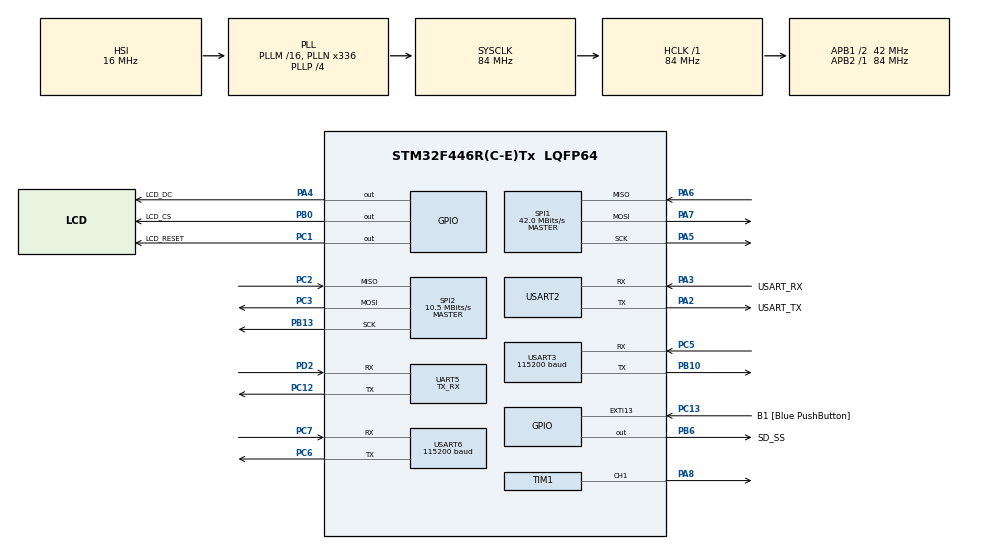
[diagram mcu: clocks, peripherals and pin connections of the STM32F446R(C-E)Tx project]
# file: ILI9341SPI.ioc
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Dma.Request0=USART3_RX
Dma.Request1=USART6_RX
Dma.USART3_RX.0.Direction=DMA_PERIPH_TO_MEMORY
Dma.USART3_RX.0.FIFOMode=DMA_FIFOMODE_DISABLE
Dma.USART3_RX.0.Instance=DMA1_Stream1
Dma.USART3_RX.0.MemDataAlignment=DMA_MDATAALIGN_BYTE
Dma.USART3_RX.0.MemInc=DMA_MINC_ENABLE
Dma.USART3_RX.0.Mode=DMA_NORMAL
Dma.USART3_RX.0.PeriphDataAlignment=DMA_PDATAALIGN_BYTE
Dma.USART3_RX.0.PeriphInc=DMA_PINC_DISABLE
Dma.USART3_RX.0.Priority=DMA_PRIORITY_LOW
Dma.USART6_RX.1.Direction=DMA_PERIPH_TO_MEMORY
Dma.USART6_RX.1.FIFOMode=DMA_FIFOMODE_DISABLE
Dma.USART6_RX.1.Instance=DMA2_Stream1
Dma.USART6_RX.1.MemDataAlignment=DMA_MDATAALIGN_BYTE
Dma.USART6_RX.1.MemInc=DMA_MINC_ENABLE
Dma.USART6_RX.1.Mode=DMA_NORMAL
Dma.USART6_RX.1.PeriphDataAlignment=DMA_PDATAALIGN_BYTE
Dma.USART6_RX.1.PeriphInc=DMA_PINC_DISABLE
Dma.USART6_RX.1.Priority=DMA_PRIORITY_LOW
FATFS._MAX_SS=4096
FATFS._USE_LFN=1
Mcu.Family=STM32F4
Mcu.Name=STM32F446R(C-E)Tx
Mcu.Package=LQFP64
NVIC.DMA1_Stream1_IRQn=true\:0\:0\:false\:false\:true\:false\:true\:true
NVIC.DMA2_Stream1_IRQn=true\:0\:0\:false\:false\:true\:false\:true\:true
NVIC.PriorityGroup=NVIC_PRIORITYGROUP_0
NVIC.SPI2_IRQn=true\:0\:0\:false\:false\:true\:true\:true\:true
NVIC.TIM2_IRQn=true\:0\:0\:false\:false\:true\:true\:true\:true
NVIC.TIM6_DAC_IRQn=true\:0\:0\:false\:false\:true\:true\:true\:true
NVIC.USART3_IRQn=true\:0\:0\:false\:false\:true\:true\:true\:true
NVIC.USART6_IRQn=true\:0\:0\:false\:false\:true\:true\:true\:true
PA13.GPIO_Label=TMS
PA13.Mode=Serial_Wire
PA13.Signal=SYS_JTMS-SWDIO
PA14.GPIO_Label=TCK
PA14.Mode=Serial_Wire
PA14.Signal=SYS_JTCK-SWCLK
PA2.GPIO_Label=USART_TX
PA2.Mode=Asynchronous
PA2.Signal=USART2_TX
PA3.GPIO_Label=USART_RX
PA3.Mode=Asynchronous
PA3.Signal=USART2_RX
PA4.GPIO_Label=LCD_DC
PA4.GPIO_Speed=GPIO_SPEED_FREQ_MEDIUM
PA4.Signal=GPIO_Output
PA5.Mode=Full_Duplex_Master
PA5.Signal=SPI1_SCK
PA6.Mode=Full_Duplex_Master
PA6.Signal=SPI1_MISO
PA7.Mode=Full_Duplex_Master
PA7.Signal=SPI1_MOSI
PA8.Signal=S_TIM1_CH1
PB0.GPIO_Label=LCD_CS
PB0.GPIO_Speed=GPIO_SPEED_FREQ_MEDIUM
PB0.Signal=GPIO_Output
PB10.Mode=Asynchronous
PB10.Signal=USART3_TX
PB13.Mode=Full_Duplex_Master
PB13.Signal=SPI2_SCK
PB3.GPIO_Label=SWO
PB3.Signal=SYS_JTDO-SWO
PB6.GPIO_Label=SD_SS
PB6.GPIO_Speed=GPIO_SPEED_FREQ_MEDIUM
PB6.PinState=GPIO_PIN_SET
PB6.Signal=GPIO_Output
PC1.GPIO_Label=LCD_RESET
PC1.GPIO_Speed=GPIO_SPEED_FREQ_MEDIUM
PC1.Signal=GPIO_Output
PC12.Mode=Asynchronous
PC12.Signal=UART5_TX
PC13.GPIO_Label=B1 [Blue PushButton]
PC13.GPIO_ModeDefaultEXTI=GPIO_MODE_IT_FALLING
PC13.Signal=GPXTI13
PC14-OSC32_IN.Mode=LSE-External-Oscillator
PC14-OSC32_IN.Signal=RCC_OSC32_IN
PC15-OSC32_OUT.Mode=LSE-External-Oscillator
PC15-OSC32_OUT.Signal=RCC_OSC32_OUT
PC2.Mode=Full_Duplex_Master
PC2.Signal=SPI2_MISO
PC3.Mode=Full_Duplex_Master
PC3.Signal=SPI2_MOSI
PC5.Mode=Asynchronous
PC5.Signal=USART3_RX
PC6.Mode=Asynchronous
PC6.Signal=USART6_TX
PC7.Mode=Asynchronous
PC7.Signal=USART6_RX
PD2.Mode=Asynchronous
PD2.Signal=UART5_RX
PH0-OSC_IN.Mode=HSE-External-Oscillator
PH0-OSC_IN.Signal=RCC_OSC_IN
PH1-OSC_OUT.Mode=HSE-External-Oscillator
PH1-OSC_OUT.Signal=RCC_OSC_OUT
ProjectManager.HeapSize=0x200
ProjectManager.StackSize=0x400
ProjectManager.TargetToolchain=STM32CubeIDE
RCC.48MHZClocksFreq_Value=84000000
RCC.AHBFreq_Value=84000000
RCC.APB1CLKDivider=RCC_HCLK_DIV2
RCC.APB1Freq_Value=42000000
RCC.APB1TimFreq_Value=84000000
RCC.APB2Freq_Value=84000000
RCC.APB2TimFreq_Value=84000000
RCC.CortexFreq_Value=84000000
RCC.FLatency-AdvancedSettings=FLASH_LATENCY_2
RCC.HCLKFreq_Value=84000000
RCC.HSE_VALUE=8000000
RCC.HSI_VALUE=16000000
RCC.PLLN=336
RCC.PLLP=RCC_PLLP_DIV4
RCC.SYSCLKFreq_VALUE=84000000
RCC.SYSCLKSource=RCC_SYSCLKSOURCE_PLLCLK
RCC.USBFreq_Value=168000000
RCC.VCOOutputFreq_Value=336000000
SH.S_TIM1_CH1.0=TIM1_CH1,PWM Generation1 CH1
SPI1.BaudRatePrescaler=SPI_BAUDRATEPRESCALER_2
SPI1.CalculateBaudRate=42.0 MBits/s
SPI1.Direction=SPI_DIRECTION_2LINES
SPI1.Mode=SPI_MODE_MASTER
SPI1.VirtualType=VM_MASTER
SPI2.BaudRatePrescaler=SPI_BAUDRATEPRESCALER_4
SPI2.CalculateBaudRate=10.5 MBits/s
SPI2.Direction=SPI_DIRECTION_2LINES
SPI2.Mode=SPI_MODE_MASTER
SPI2.VirtualType=VM_MASTER
TIM1.Channel-PWM\ Generation1\ CH1=TIM_CHANNEL_1
TIM1.Period=100-1
TIM1.Pulse-PWM\ Generation1\ CH1=50
TIM2.AutoReloadPreload=TIM_AUTORELOAD_PRELOAD_ENABLE
TIM2.Period=999
TIM2.Prescaler=83
TIM2.TIM_MasterOutputTrigger=TIM_TRGO_UPDATE
TIM6.AutoReloadPreload=TIM_AUTORELOAD_PRELOAD_ENABLE
TIM6.Period=500-1
TIM6.Prescaler=8400-1
UART5.Mode=MODE_TX_RX
UART5.OverSampling=UART_OVERSAMPLING_8
UART5.VirtualMode=Asynchronous
USART2.VirtualMode=VM_ASYNC
USART3.BaudRate=115200
USART3.Mode=MODE_RX
USART3.OverSampling=UART_OVERSAMPLING_8
USART3.VirtualMode=VM_ASYNC
USART6.BaudRate=115200
USART6.Mode=MODE_RX
USART6.OverSampling=UART_OVERSAMPLING_8
USART6.VirtualMode=VM_ASYNC
VP_FATFS_VS_Generic.Mode=User_defined
VP_TIM1_VS_ClockSourceINT.Mode=Internal
VP_TIM2_VS_ClockSourceINT.Mode=Internal
VP_TIM6_VS_ClockSourceINT.Mode=Enable_Timer
board=NUCLEO-F446RE

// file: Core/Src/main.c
/* USER CODE BEGIN Header */
/**
 ******************************************************************************
 * @file           : main.c
 * @brief          : Main program body
 ******************************************************************************
 * @attention
 *
 * Copyright (c) 2024 STMicroelectronics.
 * All rights reserved.
 *
 * This software is licensed under terms that can be found in the LICENSE file
 * in the root directory of this software component.
 * If no LICENSE file comes with this software, it is provided AS-IS.
 *
 ******************************************************************************
 */
/* USER CODE END Header */
#include "main.h"
#include "fatfs.h"

/* USER CODE BEGIN Includes */
#include "fatfs_sd.h"
#include "string.h"
#include "stdio.h"

#include "ili9341.h"
#include "bitmaps.h"
#include "NOTES_PSC.h"
#include <string.h>
/* USER CODE END Includes */

/* USER CODE BEGIN PD */

FATFS fs;
FATFS *pfs;
FIL fil;
FRESULT fres;
DWORD fre_clust;
uint32_t totalSpace, freeSpace;
char buffer[100];
char data;
/* USER CODE END PD */

SPI_HandleTypeDef hspi1;
SPI_HandleTypeDef hspi2;

TIM_HandleTypeDef htim1;
TIM_HandleTypeDef htim2;
TIM_HandleTypeDef htim6;

UART_HandleTypeDef huart5;
UART_HandleTypeDef huart2;
UART_HandleTypeDef huart3;
UART_HandleTypeDef huart6;
DMA_HandleTypeDef hdma_usart3_rx;
DMA_HandleTypeDef hdma_usart6_rx;

/* USER CODE BEGIN PV */
extern const uint16_t fondo[];
extern const uint16_t pista5[];
extern const uint16_t menu[];
uint8_t estado_juego = 0;
uint8_t flag_velocidad = 0;
uint8_t flag_mapa_carrera = 0;
uint8_t flag_menu = 0;
uint8_t rx_control1[1];
uint8_t rx_control2[1];
uint8_t flag_jugando = 0;
uint8_t flag_ganador = 0;
uint8_t contador = 0;
uint16_t contador_seg = 0;
uint16_t dir_x_car1 = 155;
uint16_t dir_y_car1 = 208;
volatile uint16_t new_x_car1, new_y_car1;
volatile uint8_t move_ready1 = 0;
volatile char cmd1 = 0;
uint8_t indx1 = 1;

uint16_t dir_x_car2 = 155;
uint16_t dir_y_car2 = 192;
volatile uint16_t new_x_car2, new_y_car2;
volatile uint8_t move_ready2 = 0;
volatile char cmd2 = 0;
uint8_t indx2 = 1;
uint8_t VELOCIDAD = 0;

// declaracion variables para imprimir pantalla guardada en SD
#define BLOCK_ROWS 16
uint16_t img_block[320 * BLOCK_ROWS];

uint8_t STEP_SIZE = 8;

//uint16_t note_index = 0;
//uint32_t last_note_time = 0;

#define TOTAL_NOTES (sizeof(mk_notes)/sizeof(uint16_t))

// Para usar con timer en lugar de delay
volatile uint16_t note_index = 0;
volatile uint32_t note_time = 0;
volatile uint8_t note_on = 1;

// Variables para meta
#define FINISH_X 150
#define FINISH_Y1 180
#define FINISH_Y2 220
uint16_t prev_x_car1, prev_x_car2;

uint8_t laps_car1 = 0;
uint8_t laps_car2 = 0;

uint8_t crossed_car1 = 0;
uint8_t crossed_car2 = 0;

// Check point
#define CP1_X 131
#define CP1_Y1 10
#define CP1_Y2 70

uint8_t cp_car2 = 0;
uint8_t cp_car1 = 0;

// Variables para el boost, misma posicion que los checkpoints
uint8_t boost_active = 0;
uint8_t boost_visible = 0;
uint16_t boost_timer = 0;      // duración visible
uint16_t boost_duration = 0;   // duración del efecto

uint8_t boost_car1 = 0;
uint8_t boost_car2 = 0;

uint16_t boost_time_car1 = 0;
uint16_t boost_time_car2 = 0;

// Posición del boost
uint16_t boost_x = 150;
uint16_t boost_y = 30;

// STEP independientes
uint8_t STEP_SIZE_CAR1 = 8;
uint8_t STEP_SIZE_CAR2 = 8;

uint8_t cp1_event_car1 = 0;
uint8_t cp1_event_car2 = 0;

uint8_t boost_spawned = 0;

//variables para guardar highscore
// Highscore
uint16_t highscore0_seg = 9999;  // valor inicial
uint8_t  highscore0_dec = 0;
uint16_t highscore1_seg = 9999;  // valor inicial
uint8_t  highscore1_dec = 0;
uint16_t highscore2_seg = 9999;  // valor inicial
uint8_t  highscore2_dec = 0;
uint8_t  flag_highscore = 0;    // para dibujar la pantalla solo una vez

// Tile set
#define TILE_SIZE 16
#define MAP_W 20
#define MAP_H 15

uint8_t collision_map[MAP_H][MAP_W];

// ================================================================================

/* USER CODE END PV */

void SystemClock_Config(void);
static void MX_GPIO_Init(void);
static void MX_DMA_Init(void);
static void MX_USART2_UART_Init(void);
static void MX_SPI1_Init(void);
static void MX_USART3_UART_Init(void);
static void MX_USART6_UART_Init(void);
static void MX_TIM1_Init(void);
static void MX_TIM2_Init(void);
static void MX_UART5_Init(void);
static void MX_SPI2_Init(void);
static void MX_TIM6_Init(void);

/* USER CODE BEGIN 0 */
void transmit_uart(char *string){
	uint8_t len = strlen(string);
	HAL_UART_Transmit(&huart2, (uint8_t*) string, len,200);
	//funcion que usamos para imprimir estado de SD por serial
}
void guardar_highscore(uint16_t seg, uint8_t dec)
{
	//funcion para guardar el highscore dependiendo del modo de velocidad en el que estemos.
	// velocidad alta 1 velocdad media 0 velocidad baja 2
    FATFS fs_hs;
    FIL   fil_hs;
    char  linea[30];

    if(f_mount(&fs_hs, "/", 0) != FR_OK){
        transmit_uart("HS: error montando SD\n");
        return;
    }
    transmit_uart("HS: SD montada\n");
    if (VELOCIDAD == 0){
    	if(f_open(&fil_hs, "highscore0.txt", FA_WRITE | FA_CREATE_ALWAYS) != FR_OK){
			transmit_uart("HS: error abriendo archivo\n");
			f_mount(NULL, "", 1);
			return;
		}
		transmit_uart("HS: archivo abierto\n");

		sprintf(linea, "%u,%u\n", seg, dec);  // coma como separador
		f_puts(linea, &fil_hs);
		transmit_uart("HS: dato escrito\n");

		f_close(&fil_hs);
		f_mount(NULL, "", 1);
		transmit_uart("HS: guardado vel menor exitoso\n");
    }else if (VELOCIDAD == 1){
    	if(f_open(&fil_hs, "highscore1.txt", FA_WRITE | FA_CREATE_ALWAYS) != FR_OK){
			transmit_uart("HS: error abriendo archivo\n");
			f_mount(NULL, "", 1);
			return;
		}
		transmit_uart("HS: archivo abierto\n");

		sprintf(linea, "%u,%u\n", seg, dec);  // coma como separador
		f_puts(linea, &fil_hs);
		transmit_uart("HS: dato escrito\n");

		f_close(&fil_hs);
		f_mount(NULL, "", 1);
		transmit_uart("HS: guardado vel alta exitoso\n");
    }else if (VELOCIDAD == 2){
    	if(f_open(&fil_hs, "highscore2.txt", FA_WRITE | FA_CREATE_ALWAYS) != FR_OK){
			transmit_uart("HS: error abriendo archivo\n");
			f_mount(NULL, "", 1);
			return;
		}
		transmit_uart("HS: archivo abierto\n");

		sprintf(linea, "%u,%u\n", seg, dec);  // coma como separador
		f_puts(linea, &fil_hs);
		transmit_uart("HS: dato escrito\n");

		f_close(&fil_hs);
		f_mount(NULL, "", 1);
		transmit_uart("HS: guardado vel lenta exitoso\n");
    }

}

void cargar_highscore(void)
{
    FATFS fs_hs;
    FIL   fil_hs;
    char  linea[30];
    const char* nombre;
    uint16_t *seg_ptr;
    uint8_t  *dec_ptr;

    // Seleccionar archivo y variables según velocidad. Dependiendo de ello mostramos el
    // valor del highscore adecuado a la velocidad que eligio
    if(VELOCIDAD == 0){
        nombre  = "highscore0.txt";
        seg_ptr = &highscore0_seg;
        dec_ptr = &highscore0_dec;
    } else if(VELOCIDAD == 1){
        nombre  = "highscore1.txt";
        seg_ptr = &highscore1_seg;
        dec_ptr = &highscore1_dec;
    } else {
        nombre  = "highscore2.txt";
        seg_ptr = &highscore2_seg;
        dec_ptr = &highscore2_dec;
    }

    if(f_mount(&fs_hs, "/", 0) != FR_OK){
        transmit_uart("HS: error montando SD\n");
        return;
    }
    transmit_uart("HS: SD montada\n");

    if(f_open(&fil_hs, nombre, FA_READ) != FR_OK){
        transmit_uart("HS: archivo no existe, usando default\n");
        f_mount(NULL, "", 1);
        return;
    }
    transmit_uart("HS: archivo abierto\n");

    if(f_gets(linea, sizeof(linea), &fil_hs)){
        uint16_t s = 0, d = 0;
        sscanf(linea, "%hu,%hu", &s, &d);
        *seg_ptr = s;
        *dec_ptr = (uint8_t)d;

        char msg[50];
        sprintf(msg, "HS: record cargado = %u.%u s\n", *seg_ptr, *dec_ptr);
        transmit_uart(msg);
    } else {
        transmit_uart("HS: error leyendo archivo\n");
    }

    f_close(&fil_hs);
    f_mount(NULL, "", 1);
    transmit_uart("HS: SD desmontada\n");
}

uint8_t load_and_draw_image_from_sd(const char* filename) {
	// funcion para cargar imagen desde SD
	//
    FATFS fs_local;
    FIL fil_local;
    FRESULT res;
    UINT br;
    char msg[60];
    char token[10];
    uint8_t tok_idx = 0;

    #define READ_CHUNK 128
    char chunk[READ_CHUNK + 1];

    uint32_t idx = 0;
    uint32_t total = 0;
    uint32_t total_pixels = 320 * 240;
    int current_row_block = 0;

    res = f_mount(&fs_local, "/", 0);
    if(res != FR_OK){
        transmit_uart("IMG: error montando SD\n");
        return 0;
    }
    transmit_uart("IMG: SD montada\n");

    res = f_open(&fil_local, filename, FA_READ);
    if(res != FR_OK){
        sprintf(msg, "IMG: error abriendo archivo: %d\n", res);
        transmit_uart(msg);
        f_mount(NULL, "", 1);
        return 0;
    }
    transmit_uart("IMG: dibujando...\n");

    while(total < total_pixels){
        res = f_read(&fil_local, chunk, READ_CHUNK, &br);
        if(br == 0) break;
        chunk[br] = '\0';

        for(UINT i = 0; i < br && total < total_pixels; i++){
            char c = chunk[i];

            if(c == ' ' || c == '\n' || c == '\r') continue;

            if(c == ','){
            	// el formato que guardamos la imagen es de numero seguido de comas como los usados
            	// cuando se guarda en RAM.
                if(tok_idx > 0){
                    token[tok_idx] = '\0';
                    img_block[idx++] = (uint16_t)strtol(token, NULL, 16);
                    tok_idx = 0;
                    total++;

                    if(idx >= 320 * BLOCK_ROWS){
                        LCD_Bitmap(0, current_row_block * BLOCK_ROWS, 320, BLOCK_ROWS, img_block);
                        current_row_block++;
                        idx = 0;
                    }
                }
            } else {
                if(tok_idx < sizeof(token) - 1)
                    token[tok_idx++] = c;
            }
        }
    }

    // Procesar último token si no termina en coma
    if(tok_idx > 0 && total < total_pixels){
        token[tok_idx] = '\0';
        img_block[idx++] = (uint16_t)strtol(token, NULL, 16);
        total++;
    }

    // Dibujar último bloque incompleto
    if(idx > 0){
        LCD_Bitmap(0, current_row_block * BLOCK_ROWS, 320, BLOCK_ROWS, img_block);
    }

    f_close(&fil_local);
    f_mount(NULL, "", 1);

    sprintf(msg, "IMG: total pixeles = %lu\n", total);
    transmit_uart(msg);
    return 1;
}
void restartRace(){
	// funcion para empezar de cero la carrera una vez hay ganador.
	move_ready1 = 0;
	move_ready2 = 0;
	cmd1 = 0;
	cmd2 = 0;

	new_x_car1 = dir_x_car1 = 155;
	new_y_car1 = dir_y_car1 = 208;

	new_x_car2 = dir_x_car2 = 155;
	new_y_car2 = dir_y_car2 = 192;

	boost_spawned = 0;

	cp_car1 = 0;
	cp_car2 = 0;
	laps_car2 = 0;
	laps_car1 = 0;
	flag_ganador = 0;
	contador = 0;
	contador_seg = 0;
	//LCD_Bitmap(0, 0, 320, 240, pista5);
	//LCD_Sprite(dir_x_car2, dir_y_car2, 16, 16, cars1, 4, 1, 0, 0);
	//LCD_Sprite(dir_x_car1, dir_y_car1, 16, 16, cars2, 4, 1, 0, 0);

	//musica de juego
	//enviamos el 2 al otro nucleo para indicarle que deseamos la musica de carrera.
	data = '2';
	HAL_UART_Transmit(&huart5, &data, 1, 100);
}

int check_collision(uint16_t x1, uint16_t y1,
                    uint16_t x2, uint16_t y2)
{
    return (x1 < x2 + 16 &&
            x1 + 16 > x2 &&
            y1 < y2 + 16 &&
            y1 + 16 > y2);
}

/* USER CODE END 0 */

int main(void)
{

  /* MCU Configuration--------------------------------------------------------*/

  /* Reset of all peripherals, Initializes the Flash interface and the Systick. */
  HAL_Init();

  /* Configure the system clock */
  SystemClock_Config();

  /* Initialize all configured peripherals */
  MX_GPIO_Init();
  MX_DMA_Init();
  MX_USART2_UART_Init();
  MX_SPI1_Init();
  MX_USART3_UART_Init();
  MX_USART6_UART_Init();
  MX_TIM1_Init();
  MX_TIM2_Init();
  MX_UART5_Init();
  MX_SPI2_Init();
  MX_FATFS_Init();
  MX_TIM6_Init();
  /* USER CODE BEGIN 2 */
	LCD_Init();
	HAL_TIM_Base_Start_IT(&htim2);
	HAL_TIM_Base_Start_IT(&htim6);
	HAL_TIM_PWM_Start(&htim1, TIM_CHANNEL_1);
	HAL_UART_Receive_DMA(&huart3, rx_control1, sizeof(rx_control1));
	HAL_UART_Receive_DMA(&huart6, rx_control2, sizeof(rx_control2));
	//tiempo para que se inicialice la sd
	HAL_Delay(1000);
	//montamos el sistema
	// comenzamos haciendo unas pruebas a la SD para verificar que este funcionando correctamente
	  	fres = f_mount(&fs, "/", 0);
	  	sprintf(buffer, "f_mount result: %d\r\n", fres);
	  	transmit_uart(buffer);

	  	if(fres == FR_OK){
	  		transmit_uart("Micro SD card is mounted successfully\n");
	  	}
	  	else if(fres != FR_OK){

	  		transmit_uart("Micro SD card's mount error\n");
	  	}

	  	fres = f_open(&fil, "prueba.txt", FA_OPEN_ALWAYS | FA_READ | FA_WRITE);

	  	if(fres == FR_OK){
	  	    transmit_uart("File opened successfully\n");
	  	}
	  	else{
	  	    sprintf(buffer, "f_open error: %d\n", fres);
	  	    transmit_uart(buffer);
	  	}

	  	//escribir en el archivo abierto
	  	for(uint8_t i = 0; i < 5; i++){
	  		f_puts("Hola mundo digital 2\n", &fil);
	  	}

	  	//cerramo archivo abierto
	  	fres = f_close(&fil);
	  	sprintf(buffer, "f_mount result: %d\r\n", fres);
	  	transmit_uart(buffer);
	  	if (fres == FR_OK){
	  		transmit_uart("The file is closed\n");
	  	}
	  	else if(fres != FR_OK){
	  		transmit_uart("The file  was not file closed\n");
	  	}

	  	//leemos archivo
	  	fres = f_open(&fil, "prueba.txt", FA_READ);
	  	sprintf(buffer, "f_mount result: %d\r\n", fres);
	  	transmit_uart(buffer);
	  	if(fres == FR_OK){
	  	  		transmit_uart("File opened for reading\n");
	  	  	}
	  	  	else if(fres != FR_OK){
	  	  		transmit_uart("File was not opened for reading\n");
	  	  	}
	  	//leemos el archivo
	  	while (f_gets(buffer, sizeof(buffer),&fil)){
	  		char mRd[100];
	  		sprintf(mRd, "%s", buffer);
	  		transmit_uart(mRd);
	  	}
	  	fres = f_close(&fil);
	  	sprintf(buffer, "f_mount result: %d\r\n", fres);
	  	transmit_uart(buffer);
	  	  	if (fres == FR_OK){
	  	  		transmit_uart("The file is closed\n");
	  	  	}
	  	  	else if(fres != FR_OK){
	  	  		transmit_uart("The was not file closed\n");
	  	  	}
	  	  	fres = f_mount(NULL, "", 1);
	  	  sprintf(buffer, "f_mount result: %d\r\n", fres);
	  	  transmit_uart(buffer);
	  	  	if(fres == FR_OK){
	  	  		transmit_uart("The microSD is unmounted\n");
	  	  	}
	  	  	else if(fres != FR_OK){
	  	  		transmit_uart("The microSD was not unmounted\n");
	  	  	}

	//LCD_Clear(0x00);
	//load_and_draw_image_from_sd("imagenmenu.txt");

	HAL_UART_Receive_DMA(&huart3, rx_control1, sizeof(rx_control1));
	HAL_UART_Receive_DMA(&huart6, rx_control2, sizeof(rx_control2));
	//enviamos 1 para musica de menu

	// Crear mapa de colisiones
	for(int ty = 0; ty < MAP_H; ty++){
		for(int tx = 0; tx < MAP_W; tx++){

			int px = tx * TILE_SIZE;
			int py = ty * TILE_SIZE;

			int gray_pixels = 0;

			for(int i=0; i<TILE_SIZE; i++){
				for(int j=0; j<TILE_SIZE; j++){

					uint16_t color = pista5[(py+i)*320 + (px+j)];

					if(color == 0x9cf3)// SOLO gris es válido
						gray_pixels++;
				}
			}

			// umbral
			if(gray_pixels > (TILE_SIZE * TILE_SIZE * 8 / 10))
				collision_map[ty][tx] = 0; // libre
			else
				collision_map[ty][tx] = 1; // bloqueado
		}
	}

	cargar_highscore(); // aca cargo el valor del highscore desde la SD
	// aca imprimo todos los archivos dentro de la sd para estar seguro de los nombres
	DIR dir;
	FILINFO fno;
	FATFS fs_temp;

	f_mount(&fs_temp, "/", 0);
	f_opendir(&dir, "/");
	while(f_readdir(&dir, &fno) == FR_OK && fno.fname[0] != 0){
	    transmit_uart(fno.fname);
	    transmit_uart("\n");
	}
	f_closedir(&dir);
	f_mount(NULL, "", 1);

  /* USER CODE END 2 */

  /* Infinite loop */
  /* USER CODE BEGIN WHILE */
	while (1)
	{
	    switch(estado_juego)
	    {
	        case 0: // MENU
	            if(!flag_menu){
	                LCD_Clear(0x00);
	                //LCD_Bitmap(0, 0, 320, 240, menu);
	                load_and_draw_image_from_sd("imagenmenu.txt.txt");
	                flag_menu = 1;
	            }
	            data = '1';
	            HAL_UART_Transmit(&huart5, &data, 1, 100);
	            flag_highscore = 0;
	            if(rx_control1[0] == 'x' || rx_control2[0] == 'x'){
	                rx_control1[0] = 0;
	                rx_control2[0] = 0;
	                flag_menu = 0;
	                flag_mapa_carrera = 0; // forzar redibujo de pista
	                restartRace();
	                estado_juego = 1;
	            }
	            if(rx_control1[0] == 'o' || rx_control2[0] == 'o'){
	                rx_control1[0] = 0;
	                rx_control2[0] = 0;
	                flag_menu = 0;
	                estado_juego = 2;
	            }
	            if(rx_control1[0] == 't' || rx_control2[0] == 't'){
	                rx_control1[0] = 0;
	                rx_control2[0] = 0;
	                flag_menu = 0;
	                flag_velocidad = 0;
	                estado_juego = 4;
	            }
	            break;

	        case 1: // JUEGO
	            data = '2';
	            HAL_UART_Transmit(&huart5, &data, 1, 100);

	            // Dibujar pista solo la primera vez
	            if(!flag_mapa_carrera){
	                LCD_Bitmap(0, 0, 320, 240, pista5);
	                LCD_Sprite(dir_x_car2, dir_y_car2, 16, 16, cars1, 4, 1, 0, 0);
	                LCD_Sprite(dir_x_car1, dir_y_car1, 16, 16, cars2, 4, 1, 0, 0);

	                LCD_Print("3", 140, 110, 2, 0xF800, 0x9cf3);
	                LCD_Print("3", 141, 110, 2, 0xF800, 0x9cf3);
	                LCD_Print("3", 142, 110, 2, 0xF800, 0x9cf3);
					HAL_Delay(1000);
					LCD_Print("3", 140, 110, 2, 0x9cf3, 0x9cf3); // borrar "3"
					LCD_Print("3", 141, 110, 2, 0x9cf3, 0x9cf3);
					LCD_Print("3", 142, 110, 2, 0x9cf3, 0x9cf3);

					LCD_Print("2", 140, 110, 2, 0xFFE0, 0x9cf3);
					LCD_Print("2", 141, 110, 2, 0xFFE0, 0x9cf3);
					LCD_Print("2", 142, 110, 2, 0xFFE0, 0x9cf3);
					HAL_Delay(1000);
					LCD_Print("2", 140, 110, 2, 0x9cf3, 0x9cf3); // borrar "2"
					LCD_Print("2", 141, 110, 2, 0x9cf3, 0x9cf3); // borrar "2"
					LCD_Print("2", 142, 110, 2, 0x9cf3, 0x9cf3); // borrar "2"

					LCD_Print("1", 140, 110, 2, 0x07E0, 0x9cf3);
					LCD_Print("1", 141, 110, 2, 0x07E0, 0x9cf3);
					LCD_Print("1", 142, 110, 2, 0x07E0, 0x9cf3);
					HAL_Delay(1000);
					LCD_Print("1", 140, 110, 2, 0x9cf3, 0x9cf3); // borrar "1"
					LCD_Print("1", 141, 110, 2, 0x9cf3, 0x9cf3); // borrar "1"
					LCD_Print("1", 142, 110, 2, 0x9cf3, 0x9cf3); // borrar "1"
	                flag_mapa_carrera = 1;
	                flag_jugando = 1;
	            }
	            // ── Carro 2 ──
	            if(move_ready2){
	                uint16_t prev_x = dir_x_car2;
	                uint16_t prev_y = dir_y_car2;
	                prev_x_car2 = dir_x_car2;

	                int left   = new_x_car2 / 16;
	                int right  = (new_x_car2 + 15) / 16;
	                int top    = dir_y_car2 / 16;
	                int bottom = (dir_y_car2 + 15) / 16;

	                if(collision_map[top][left] == 0 && collision_map[top][right] == 0 &&
	                   collision_map[bottom][left] == 0 && collision_map[bottom][right] == 0 &&
	                   !check_collision(new_x_car2, dir_y_car2, dir_x_car1, dir_y_car1))
	                    dir_x_car2 = new_x_car2;

	                left = dir_x_car2/16; right = (dir_x_car2+15)/16;
	                top  = new_y_car2/16; bottom = (new_y_car2+15)/16;

	                if(collision_map[top][left] == 0 && collision_map[top][right] == 0 &&
	                   collision_map[bottom][left] == 0 && collision_map[bottom][right] == 0 &&
	                   !check_collision(dir_x_car2, new_y_car2, dir_x_car1, dir_y_car1))
	                    dir_y_car2 = new_y_car2;

	                int dx = dir_x_car2 - prev_x;
	                int dy = dir_y_car2 - prev_y;

	                if(dx > 0){      for(int i=0;i<STEP_SIZE_CAR2;i++) V_line(prev_x+i,    prev_y,16,0x9cf3); indx2=1;}
	                else if(dx < 0){ for(int i=0;i<STEP_SIZE_CAR2;i++) V_line(prev_x+15-i, prev_y,16,0x9cf3); indx2=2;}
	                if(dy > 0){      for(int i=0;i<STEP_SIZE_CAR2;i++) H_line(prev_x,prev_y+i,   16,0x9cf3); indx2=3;}
	                else if(dy < 0){ for(int i=0;i<STEP_SIZE_CAR2;i++) H_line(prev_x,prev_y+15-i,16,0x9cf3); indx2=0;}

	                LCD_Sprite(dir_x_car2, dir_y_car2, 16, 16, cars1, 4, indx2, 0, 0);
	                move_ready2 = 0;
	            }

	            // ── Carro 1 ──
	            if(move_ready1){
	                uint16_t prev_x = dir_x_car1;
	                uint16_t prev_y = dir_y_car1;
	                prev_x_car1 = dir_x_car1;

	                int left   = new_x_car1 / 16;
	                int right  = (new_x_car1 + 15) / 16;
	                int top    = dir_y_car1 / 16;
	                int bottom = (dir_y_car1 + 15) / 16;

	                if(collision_map[top][left] == 0 && collision_map[top][right] == 0 &&
	                   collision_map[bottom][left] == 0 && collision_map[bottom][right] == 0 &&
	                   !check_collision(new_x_car1, dir_y_car1, dir_x_car2, dir_y_car2))
	                    dir_x_car1 = new_x_car1;

	                left = dir_x_car1/16; right = (dir_x_car1+15)/16;
	                top  = new_y_car1/16; bottom = (new_y_car1+15)/16;

	                if(collision_map[top][left] == 0 && collision_map[top][right] == 0 &&
	                   collision_map[bottom][left] == 0 && collision_map[bottom][right] == 0 &&
	                   !check_collision(dir_x_car1, new_y_car1, dir_x_car2, dir_y_car2))
	                    dir_y_car1 = new_y_car1;

	                int dx = dir_x_car1 - prev_x;
	                int dy = dir_y_car1 - prev_y;

	                if(dx > 0){      for(int i=0;i<STEP_SIZE_CAR1;i++) V_line(prev_x+i,    prev_y,16,0x9cf3); indx1=1;}
	                else if(dx < 0){ for(int i=0;i<STEP_SIZE_CAR1;i++) V_line(prev_x+15-i, prev_y,16,0x9cf3); indx1=2;}
	                if(dy > 0){      for(int i=0;i<STEP_SIZE_CAR1;i++) H_line(prev_x,prev_y+i,   16,0x9cf3); indx1=3;}
	                else if(dy < 0){ for(int i=0;i<STEP_SIZE_CAR1;i++) H_line(prev_x,prev_y+15-i,16,0x9cf3); indx1=0;}

	                LCD_Sprite(dir_x_car1, dir_y_car1, 16, 16, cars2, 4, indx1, 0, 0);
	                move_ready1 = 0;
	            }

	            // ── Checkpoints ──
	            if(cp_car2 == 0 &&
	               prev_x_car2 > CP1_X && dir_x_car2 <= CP1_X &&
	               dir_y_car2 > CP1_Y1 && dir_y_car2 < CP1_Y2)
	            { cp_car2 = 1; cp1_event_car2 = 1; }

	            if(cp_car2 == 1 &&
	               prev_x_car2 < FINISH_X && dir_x_car2 >= FINISH_X &&
	               dir_y_car2 > FINISH_Y1 && dir_y_car2 < FINISH_Y2)
	            { if(!crossed_car2){ laps_car2++; crossed_car2=1; cp_car2=0; } }
	            else{ crossed_car2 = 0; }

	            if(cp_car1 == 0 &&
	               prev_x_car1 > CP1_X && dir_x_car1 <= CP1_X &&
	               dir_y_car1 > CP1_Y1 && dir_y_car1 < CP1_Y2)
	            { cp_car1 = 1; cp1_event_car1 = 1; }

	            if(cp_car1 == 1 &&
	               prev_x_car1 < FINISH_X && dir_x_car1 >= FINISH_X &&
	               dir_y_car1 > FINISH_Y1 && dir_y_car1 < FINISH_Y2)
	            { if(!crossed_car1){ laps_car1++; crossed_car1=1; cp_car1=0; } }
	            else{ crossed_car1 = 0; }

	            // ── Boost spawn ──
	            if(!boost_spawned){
	                if((cp1_event_car1 && cp_car2==0) || (cp1_event_car2 && cp_car1==0)){
	                    boost_visible = 1;
	                    boost_spawned = 1;
	                }
	            }
	            cp1_event_car1 = 0;
	            cp1_event_car2 = 0;

	            if(boost_visible){
	                if(cp_car1==0 && check_collision(dir_x_car1,dir_y_car1,boost_x,boost_y)){
	                    boost_visible=0; boost_car1=1; boost_time_car1=0; STEP_SIZE_CAR1=16;
	                }
	                if(cp_car2==0 && check_collision(dir_x_car2,dir_y_car2,boost_x,boost_y)){
	                    boost_visible=0; boost_car2=1; boost_time_car2=0; STEP_SIZE_CAR2=16;
	                }
	            }

	            // ── Dibujo boost ──
	            {
	                static uint8_t boost_drawn = 0;
	                if(boost_visible && !boost_drawn){
	                    LCD_Sprite(boost_x, boost_y, 16, 16, boost, 1, 0, 0, 0);
	                    boost_drawn = 1;
	                }
	                if(!boost_visible && boost_drawn){
	                    for(int i=0;i<16;i++) H_line(boost_x, boost_y+i, 16, 0x9cf3);
	                    boost_drawn = 0;
	                }
	            }

	            // ── Ganador → estado 3 ──
	            if(laps_car1 > 0 || laps_car2 > 0){
	                const char* msg = (laps_car1 > 0) ? "ganador carro 1" : "ganador carro 2";
	                int x = (320 - strlen(msg) * fontXSizeBig) / 2 - 8;
	                LCD_Print((char*)msg, x, 112, 2, 0xFFE0, 0x0000);
	                LCD_Print("\"o\" reiniciar  \"x\" menu", 0, 0, 1, 0xF800, 0xFFFF);
	                char buffer2[40];
	                sprintf(buffer2, "tiempo = %u.%u s", contador_seg, contador);
	                LCD_Print(buffer2, 5, 240-fontYSizeSmal-5, 1, 0x0000, 0xFFFF);
	                data = '3';
	                HAL_UART_Transmit(&huart5, &data, 1, 100);
	                flag_jugando = 0;
	                estado_juego = 3;
	                if (VELOCIDAD == 0){
	                	//guardar memoria
						uint32_t tiempo_actual = (uint32_t)contador_seg * 20 + contador;
						uint32_t tiempo_record = (uint32_t)highscore0_seg * 20 + highscore0_dec;

						if(tiempo_actual < tiempo_record){
							highscore0_seg = contador_seg;
							highscore0_dec = contador;
							guardar_highscore(highscore0_seg, highscore0_dec);

							// Avisar en pantalla
							LCD_Print("  nuevo record!  ", 0, 20, 1, 0x07E0, 0x0000);
						}
	                } else if (VELOCIDAD == 1){
	                	//guardar memoria
						uint32_t tiempo_actual = (uint32_t)contador_seg * 20 + contador;
						uint32_t tiempo_record = (uint32_t)highscore1_seg * 20 + highscore1_dec;

						if(tiempo_actual < tiempo_record){
							highscore1_seg = contador_seg;
							highscore1_dec = contador;
							guardar_highscore(highscore1_seg, highscore1_dec);

							// Avisar en pantalla
							LCD_Print("  nuevo record!  ", 0, 20, 1, 0x07E0, 0x0000);
						}
	                } else if (VELOCIDAD == 2){
	                	//guardar memoria
						uint32_t tiempo_actual = (uint32_t)contador_seg * 20 + contador;
						uint32_t tiempo_record = (uint32_t)highscore2_seg * 20 + highscore2_dec;

						if(tiempo_actual < tiempo_record){
							highscore2_seg = contador_seg;
							highscore2_dec = contador;
							guardar_highscore(highscore2_seg, highscore2_dec);

							// Avisar en pantalla
							LCD_Print("  nuevo record!  ", 0, 20, 1, 0x07E0, 0x0000);
						}
	                }
	            }
	            break;

	        case 2: // HIGHSCORE
	            // mostrar highscore
	        	if(!flag_highscore){
	        	        LCD_Clear(0x00);
	        	        if (VELOCIDAD == 0){
	        	        	// Título
							LCD_Print("HIGH SCORE",(320 - strlen("HIGH SCORE") * fontXSizeBig) / 2,80, 2, 0xFFE0, 0x0000);
							LCD_Print("Velocidad ",(320 - strlen("Velocidad") * fontXSizeBig) / 2,10, 2, 0xFFE0, 0x0000);
							LCD_Print("Media ",(320 - strlen("Media") * fontXSizeBig) / 2,40, 2, 0xFFE0, 0x0000);
							// Valor
							char hs_buf[40];
							if(highscore0_seg == 9999){
								sprintf(hs_buf, "sin record aun");
							} else {
								sprintf(hs_buf, "tiempo: %u.%u s", highscore0_seg, highscore0_dec);
							}
							LCD_Print(hs_buf,(320 - strlen(hs_buf) * fontXSizeSmal) / 2, 130, 1, 0xFFFF, 0x0000);

							LCD_Print("Presione \"x\" para volver",(320 - strlen("Presione \"x\" para volver") * fontXSizeSmal) / 2,200, 1, 0xF800, 0x0000);

							flag_highscore = 1;
	        	        } else if (VELOCIDAD == 1){
	        	        	// Título
							LCD_Print("HIGH SCORE",(320 - strlen("HIGH SCORE") * fontXSizeBig) / 2,80, 2, 0xFFE0, 0x0000);
							LCD_Print("Velocidad ",(320 - strlen("Velocidad") * fontXSizeBig) / 2,10, 2, 0xFFE0, 0x0000);
							LCD_Print("Alta ",(320 - strlen("Alta") * fontXSizeBig) / 2,40, 2, 0xFFE0, 0x0000);
							// Valor
							char hs_buf[40];
							if(highscore1_seg == 9999){
								sprintf(hs_buf, "sin record aun");
							} else {
								sprintf(hs_buf, "tiempo: %u.%u s", highscore1_seg, highscore1_dec);
							}
							LCD_Print(hs_buf,(320 - strlen(hs_buf) * fontXSizeSmal) / 2, 130, 1, 0xFFFF, 0x0000);

							LCD_Print("Presione \"x\" para volver",(320 - strlen("Presione \"x\" para volver") * fontXSizeSmal) / 2,200, 1, 0xF800, 0x0000);

							flag_highscore = 1;
	        	        }else if(VELOCIDAD == 2){
	        	        	// Título
							LCD_Print("HIGH SCORE ",(320 - strlen("HIGH SCORE ") * fontXSizeBig) / 2,80, 2, 0xFFE0, 0x0000);
							LCD_Print("Velocidad ",(320 - strlen("Velocidad") * fontXSizeBig) / 2,10, 2, 0xFFE0, 0x0000);
							LCD_Print("Baja ",(320 - strlen("Baja") * fontXSizeBig) / 2,40, 2, 0xFFE0, 0x0000);
							// Valor
							char hs_buf[40];
							if(highscore2_seg == 9999){
								sprintf(hs_buf, "sin record aun");
							} else {
								sprintf(hs_buf, "tiempo: %u.%u s", highscore2_seg, highscore2_dec);
							}
							LCD_Print(hs_buf,(320 - strlen(hs_buf) * fontXSizeSmal) / 2, 130, 1, 0xFFFF, 0x0000);

							LCD_Print("Presione \"x\" para volver",(320 - strlen("Presione \"x\" para volver") * fontXSizeSmal) / 2,200, 1, 0xF800, 0x0000);

							flag_highscore = 1;
	        	        }

	        	    }
	            if(rx_control1[0] == 'x' || rx_control2[0] == 'x'){
	                rx_control1[0] = 0;
	                rx_control2[0] = 0;
	                flag_menu = 0;
	                estado_juego = 0;
	            }
	            break;

	        case 3: // GANADOR / PANTALLA FINAL
	            data = '3';
	            HAL_UART_Transmit(&huart5, &data, 1, 100);

	            // 'o' → reiniciar carrera
	            if(rx_control1[0] == 'o' || rx_control2[0] == 'o'){
	                rx_control1[0] = 0;
	                rx_control2[0] = 0;
	                flag_mapa_carrera = 0;
	                restartRace();
	                estado_juego = 1;
	            }
	            // 'x' → volver al menú
	            if(rx_control1[0] == 'x' || rx_control2[0] == 'x'){
	                rx_control1[0] = 0;
	                rx_control2[0] = 0;
	                flag_menu = 0;
	                estado_juego = 0;
	            }
	            break;
	        case 4:
	        	if(!flag_velocidad){
					LCD_Clear(0x0000);

					LCD_Print("Seleccionar velocidad",
							  (320 - strlen("Seleccionar velocidad") * fontXSizeSmal) / 2,
							  60, 1, 0xFFFF, 0x0000);

					LCD_Print("Alta:   presione []",
							  (320 - strlen("Alta:   presione X") * fontXSizeSmal) / 2,
							  90, 1, 0xF800, 0x0000);

					LCD_Print("Media:  presione O",
							  (320 - strlen("Media:  presione O") * fontXSizeSmal) / 2,
							  120, 1, 0xFFE0, 0x0000);

					LCD_Print("Baja:   presione T",
							  (320 - strlen("Baja:   presione T") * fontXSizeSmal) / 2,
							  150, 1, 0x07E0, 0x0000);
					LCD_Print("Volver: presione X",
					          (320 - strlen("Volver: presione S") * fontXSizeSmal) / 2,
					          170, 1, 0xFFFF, 0x0000);
					flag_velocidad = 1;
				}

				if(rx_control1[0] == 's' || rx_control2[0] == 's'){
					// velocidad alta
					rx_control1[0] = 0;
					rx_control2[0] = 0;
					STEP_SIZE_CAR1 = 16;
					STEP_SIZE_CAR2 = 16;
					VELOCIDAD = 1;
					flag_velocidad = 0;
					flag_menu = 0;
					estado_juego = 0;
					cargar_highscore();
				}
				if(rx_control1[0] == 'o' || rx_control2[0] == 'o'){
					// velocidad media
					VELOCIDAD = 0;
					rx_control1[0] = 0;
					rx_control2[0] = 0;
					STEP_SIZE_CAR1 = 8;
					STEP_SIZE_CAR2 = 8;
					flag_velocidad = 0;
					flag_menu = 0;
					estado_juego = 0;
					cargar_highscore();
				}
				if(rx_control1[0] == 't' || rx_control2[0] == 't'){
					// velociadad baja
					VELOCIDAD = 2;
					rx_control1[0] = 0;
					rx_control2[0] = 0;
					STEP_SIZE_CAR1 = 4;
					STEP_SIZE_CAR2 = 4;
					flag_velocidad = 0;
					flag_menu = 0;
					estado_juego = 0;
					cargar_highscore();
				}
				if(rx_control1[0] == 'x' || rx_control2[0] == 'x'){
				    rx_control1[0] = 0;
				    rx_control2[0] = 0;
				    flag_velocidad = 0;
				    flag_menu = 0;
				    estado_juego = 0;
				}
				break;
	        default:
	            estado_juego = 0;
	            break;
	    }
	/* USER CODE END WHILE */
	}
}

void SystemClock_Config(void)
{
  RCC_OscInitTypeDef RCC_OscInitStruct = {0};
  RCC_ClkInitTypeDef RCC_ClkInitStruct = {0};

  /** Configure the main internal regulator output voltage
  */
  __HAL_RCC_PWR_CLK_ENABLE();
  __HAL_PWR_VOLTAGESCALING_CONFIG(PWR_REGULATOR_VOLTAGE_SCALE3);

  /** Initializes the RCC Oscillators according to the specified parameters
  * in the RCC_OscInitTypeDef structure.
  */
  RCC_OscInitStruct.OscillatorType = RCC_OSCILLATORTYPE_HSI;
  RCC_OscInitStruct.HSIState = RCC_HSI_ON;
  RCC_OscInitStruct.HSICalibrationValue = RCC_HSICALIBRATION_DEFAULT;
  RCC_OscInitStruct.PLL.PLLState = RCC_PLL_ON;
  RCC_OscInitStruct.PLL.PLLSource = RCC_PLLSOURCE_HSI;
  RCC_OscInitStruct.PLL.PLLM = 16;
  RCC_OscInitStruct.PLL.PLLN = 336;
  RCC_OscInitStruct.PLL.PLLP = RCC_PLLP_DIV4;
  RCC_OscInitStruct.PLL.PLLQ = 2;
  RCC_OscInitStruct.PLL.PLLR = 2;
  if (HAL_RCC_OscConfig(&RCC_OscInitStruct) != HAL_OK)
  {
    Error_Handler();
  }

  /** Initializes the CPU, AHB and APB buses clocks
  */
  RCC_ClkInitStruct.ClockType = RCC_CLOCKTYPE_HCLK|RCC_CLOCKTYPE_SYSCLK
                              |RCC_CLOCKTYPE_PCLK1|RCC_CLOCKTYPE_PCLK2;
  RCC_ClkInitStruct.SYSCLKSource = RCC_SYSCLKSOURCE_PLLCLK;
  RCC_ClkInitStruct.AHBCLKDivider = RCC_SYSCLK_DIV1;
  RCC_ClkInitStruct.APB1CLKDivider = RCC_HCLK_DIV2;
  RCC_ClkInitStruct.APB2CLKDivider = RCC_HCLK_DIV1;

  if (HAL_RCC_ClockConfig(&RCC_ClkInitStruct, FLASH_LATENCY_2) != HAL_OK)
  {
    Error_Handler();
  }
}

static void MX_SPI1_Init(void)
{

  /* SPI1 parameter configuration*/
  hspi1.Instance = SPI1;
  hspi1.Init.Mode = SPI_MODE_MASTER;
  hspi1.Init.Direction = SPI_DIRECTION_2LINES;
  hspi1.Init.DataSize = SPI_DATASIZE_8BIT;
  hspi1.Init.CLKPolarity = SPI_POLARITY_LOW;
  hspi1.Init.CLKPhase = SPI_PHASE_1EDGE;
  hspi1.Init.NSS = SPI_NSS_SOFT;
  hspi1.Init.BaudRatePrescaler = SPI_BAUDRATEPRESCALER_2;
  hspi1.Init.FirstBit = SPI_FIRSTBIT_MSB;
  hspi1.Init.TIMode = SPI_TIMODE_DISABLE;
  hspi1.Init.CRCCalculation = SPI_CRCCALCULATION_DISABLE;
  hspi1.Init.CRCPolynomial = 10;
  if (HAL_SPI_Init(&hspi1) != HAL_OK)
  {
    Error_Handler();
  }

}

static void MX_SPI2_Init(void)
{

  /* SPI2 parameter configuration*/
  hspi2.Instance = SPI2;
  hspi2.Init.Mode = SPI_MODE_MASTER;
  hspi2.Init.Direction = SPI_DIRECTION_2LINES;
  hspi2.Init.DataSize = SPI_DATASIZE_8BIT;
  hspi2.Init.CLKPolarity = SPI_POLARITY_LOW;
  hspi2.Init.CLKPhase = SPI_PHASE_1EDGE;
  hspi2.Init.NSS = SPI_NSS_SOFT;
  hspi2.Init.BaudRatePrescaler = SPI_BAUDRATEPRESCALER_4;
  hspi2.Init.FirstBit = SPI_FIRSTBIT_MSB;
  hspi2.Init.TIMode = SPI_TIMODE_DISABLE;
  hspi2.Init.CRCCalculation = SPI_CRCCALCULATION_DISABLE;
  hspi2.Init.CRCPolynomial = 10;
  if (HAL_SPI_Init(&hspi2) != HAL_OK)
  {
    Error_Handler();
  }

}

static void MX_TIM1_Init(void)
{

  TIM_ClockConfigTypeDef sClockSourceConfig = {0};
  TIM_MasterConfigTypeDef sMasterConfig = {0};
  TIM_OC_InitTypeDef sConfigOC = {0};
  TIM_BreakDeadTimeConfigTypeDef sBreakDeadTimeConfig = {0};

  htim1.Instance = TIM1;
  htim1.Init.Prescaler = 0;
  htim1.Init.CounterMode = TIM_COUNTERMODE_UP;
  htim1.Init.Period = 100-1;
  htim1.Init.ClockDivision = TIM_CLOCKDIVISION_DIV1;
  htim1.Init.RepetitionCounter = 0;
  htim1.Init.AutoReloadPreload = TIM_AUTORELOAD_PRELOAD_DISABLE;
  if (HAL_TIM_Base_Init(&htim1) != HAL_OK)
  {
    Error_Handler();
  }
  sClockSourceConfig.ClockSource = TIM_CLOCKSOURCE_INTERNAL;
  if (HAL_TIM_ConfigClockSource(&htim1, &sClockSourceConfig) != HAL_OK)
  {
    Error_Handler();
  }
  if (HAL_TIM_PWM_Init(&htim1) != HAL_OK)
  {
    Error_Handler();
  }
  sMasterConfig.MasterOutputTrigger = TIM_TRGO_RESET;
  sMasterConfig.MasterSlaveMode = TIM_MASTERSLAVEMODE_DISABLE;
  if (HAL_TIMEx_MasterConfigSynchronization(&htim1, &sMasterConfig) != HAL_OK)
  {
    Error_Handler();
  }
  sConfigOC.OCMode = TIM_OCMODE_PWM1;
  sConfigOC.Pulse = 50;
  sConfigOC.OCPolarity = TIM_OCPOLARITY_HIGH;
  sConfigOC.OCNPolarity = TIM_OCNPOLARITY_HIGH;
  sConfigOC.OCFastMode = TIM_OCFAST_DISABLE;
  sConfigOC.OCIdleState = TIM_OCIDLESTATE_RESET;
  sConfigOC.OCNIdleState = TIM_OCNIDLESTATE_RESET;
  if (HAL_TIM_PWM_ConfigChannel(&htim1, &sConfigOC, TIM_CHANNEL_1) != HAL_OK)
  {
    Error_Handler();
  }
  sBreakDeadTimeConfig.OffStateRunMode = TIM_OSSR_DISABLE;
  sBreakDeadTimeConfig.OffStateIDLEMode = TIM_OSSI_DISABLE;
  sBreakDeadTimeConfig.LockLevel = TIM_LOCKLEVEL_OFF;
  sBreakDeadTimeConfig.DeadTime = 0;
  sBreakDeadTimeConfig.BreakState = TIM_BREAK_DISABLE;
  sBreakDeadTimeConfig.BreakPolarity = TIM_BREAKPOLARITY_HIGH;
  sBreakDeadTimeConfig.AutomaticOutput = TIM_AUTOMATICOUTPUT_DISABLE;
  if (HAL_TIMEx_ConfigBreakDeadTime(&htim1, &sBreakDeadTimeConfig) != HAL_OK)
  {
    Error_Handler();
  }
  HAL_TIM_MspPostInit(&htim1);

}

static void MX_TIM2_Init(void)
{

  TIM_ClockConfigTypeDef sClockSourceConfig = {0};
  TIM_MasterConfigTypeDef sMasterConfig = {0};

  htim2.Instance = TIM2;
  htim2.Init.Prescaler = 83;
  htim2.Init.CounterMode = TIM_COUNTERMODE_UP;
  htim2.Init.Period = 999;
  htim2.Init.ClockDivision = TIM_CLOCKDIVISION_DIV1;
  htim2.Init.AutoReloadPreload = TIM_AUTORELOAD_PRELOAD_ENABLE;
  if (HAL_TIM_Base_Init(&htim2) != HAL_OK)
  {
    Error_Handler();
  }
  sClockSourceConfig.ClockSource = TIM_CLOCKSOURCE_INTERNAL;
  if (HAL_TIM_ConfigClockSource(&htim2, &sClockSourceConfig) != HAL_OK)
  {
    Error_Handler();
  }
  sMasterConfig.MasterOutputTrigger = TIM_TRGO_UPDATE;
  sMasterConfig.MasterSlaveMode = TIM_MASTERSLAVEMODE_DISABLE;
  if (HAL_TIMEx_MasterConfigSynchronization(&htim2, &sMasterConfig) != HAL_OK)
  {
    Error_Handler();
  }

}

static void MX_TIM6_Init(void)
{

  TIM_MasterConfigTypeDef sMasterConfig = {0};

  htim6.Instance = TIM6;
  htim6.Init.Prescaler = 8400-1;
  htim6.Init.CounterMode = TIM_COUNTERMODE_UP;
  htim6.Init.Period = 500-1;
  htim6.Init.AutoReloadPreload = TIM_AUTORELOAD_PRELOAD_ENABLE;
  if (HAL_TIM_Base_Init(&htim6) != HAL_OK)
  {
    Error_Handler();
  }
  sMasterConfig.MasterOutputTrigger = TIM_TRGO_RESET;
  sMasterConfig.MasterSlaveMode = TIM_MASTERSLAVEMODE_DISABLE;
  if (HAL_TIMEx_MasterConfigSynchronization(&htim6, &sMasterConfig) != HAL_OK)
  {
    Error_Handler();
  }

}

static void MX_UART5_Init(void)
{

  huart5.Instance = UART5;
  huart5.Init.BaudRate = 115200;
  huart5.Init.WordLength = UART_WORDLENGTH_8B;
  huart5.Init.StopBits = UART_STOPBITS_1;
  huart5.Init.Parity = UART_PARITY_NONE;
  huart5.Init.Mode = UART_MODE_TX_RX;
  huart5.Init.HwFlowCtl = UART_HWCONTROL_NONE;
  huart5.Init.OverSampling = UART_OVERSAMPLING_8;
  if (HAL_UART_Init(&huart5) != HAL_OK)
  {
    Error_Handler();
  }

}

static void MX_USART2_UART_Init(void)
{

  huart2.Instance = USART2;
  huart2.Init.BaudRate = 115200;
  huart2.Init.WordLength = UART_WORDLENGTH_8B;
  huart2.Init.StopBits = UART_STOPBITS_1;
  huart2.Init.Parity = UART_PARITY_NONE;
  huart2.Init.Mode = UART_MODE_TX_RX;
  huart2.Init.HwFlowCtl = UART_HWCONTROL_NONE;
  huart2.Init.OverSampling = UART_OVERSAMPLING_16;
  if (HAL_UART_Init(&huart2) != HAL_OK)
  {
    Error_Handler();
  }

}

static void MX_USART3_UART_Init(void)
{

  huart3.Instance = USART3;
  huart3.Init.BaudRate = 115200;
  huart3.Init.WordLength = UART_WORDLENGTH_8B;
  huart3.Init.StopBits = UART_STOPBITS_1;
  huart3.Init.Parity = UART_PARITY_NONE;
  huart3.Init.Mode = UART_MODE_RX;
  huart3.Init.HwFlowCtl = UART_HWCONTROL_NONE;
  huart3.Init.OverSampling = UART_OVERSAMPLING_8;
  if (HAL_UART_Init(&huart3) != HAL_OK)
  {
    Error_Handler();
  }

}

static void MX_USART6_UART_Init(void)
{

  huart6.Instance = USART6;
  huart6.Init.BaudRate = 115200;
  huart6.Init.WordLength = UART_WORDLENGTH_8B;
  huart6.Init.StopBits = UART_STOPBITS_1;
  huart6.Init.Parity = UART_PARITY_NONE;
  huart6.Init.Mode = UART_MODE_RX;
  huart6.Init.HwFlowCtl = UART_HWCONTROL_NONE;
  huart6.Init.OverSampling = UART_OVERSAMPLING_8;
  if (HAL_UART_Init(&huart6) != HAL_OK)
  {
    Error_Handler();
  }

}

static void MX_DMA_Init(void)
{

  /* DMA controller clock enable */
  __HAL_RCC_DMA1_CLK_ENABLE();
  __HAL_RCC_DMA2_CLK_ENABLE();

  /* DMA interrupt init */
  /* DMA1_Stream1_IRQn interrupt configuration */
  HAL_NVIC_SetPriority(DMA1_Stream1_IRQn, 0, 0);
  HAL_NVIC_EnableIRQ(DMA1_Stream1_IRQn);
  /* DMA2_Stream1_IRQn interrupt configuration */
  HAL_NVIC_SetPriority(DMA2_Stream1_IRQn, 0, 0);
  HAL_NVIC_EnableIRQ(DMA2_Stream1_IRQn);

}

static void MX_GPIO_Init(void)
{
  GPIO_InitTypeDef GPIO_InitStruct = {0};

  /* GPIO Ports Clock Enable */
  __HAL_RCC_GPIOC_CLK_ENABLE();
  __HAL_RCC_GPIOH_CLK_ENABLE();
  __HAL_RCC_GPIOA_CLK_ENABLE();
  __HAL_RCC_GPIOB_CLK_ENABLE();
  __HAL_RCC_GPIOD_CLK_ENABLE();

  /*Configure GPIO pin Output Level */
  HAL_GPIO_WritePin(LCD_RESET_GPIO_Port, LCD_RESET_Pin, GPIO_PIN_RESET);

  /*Configure GPIO pin Output Level */
  HAL_GPIO_WritePin(LCD_DC_GPIO_Port, LCD_DC_Pin, GPIO_PIN_RESET);

  /*Configure GPIO pin Output Level */
  HAL_GPIO_WritePin(LCD_CS_GPIO_Port, LCD_CS_Pin, GPIO_PIN_RESET);

  /*Configure GPIO pin Output Level */
  HAL_GPIO_WritePin(SD_SS_GPIO_Port, SD_SS_Pin, GPIO_PIN_SET);

  /*Configure GPIO pin : B1_Pin */
  GPIO_InitStruct.Pin = B1_Pin;
  GPIO_InitStruct.Mode = GPIO_MODE_IT_FALLING;
  GPIO_InitStruct.Pull = GPIO_NOPULL;
  HAL_GPIO_Init(B1_GPIO_Port, &GPIO_InitStruct);

  /*Configure GPIO pin : LCD_RESET_Pin */
  GPIO_InitStruct.Pin = LCD_RESET_Pin;
  GPIO_InitStruct.Mode = GPIO_MODE_OUTPUT_PP;
  GPIO_InitStruct.Pull = GPIO_NOPULL;
  GPIO_InitStruct.Speed = GPIO_SPEED_FREQ_MEDIUM;
  HAL_GPIO_Init(LCD_RESET_GPIO_Port, &GPIO_InitStruct);

  /*Configure GPIO pin : LCD_DC_Pin */
  GPIO_InitStruct.Pin = LCD_DC_Pin;
  GPIO_InitStruct.Mode = GPIO_MODE_OUTPUT_PP;
  GPIO_InitStruct.Pull = GPIO_NOPULL;
  GPIO_InitStruct.Speed = GPIO_SPEED_FREQ_MEDIUM;
  HAL_GPIO_Init(LCD_DC_GPIO_Port, &GPIO_InitStruct);

  /*Configure GPIO pins : LCD_CS_Pin SD_SS_Pin */
  GPIO_InitStruct.Pin = LCD_CS_Pin|SD_SS_Pin;
  GPIO_InitStruct.Mode = GPIO_MODE_OUTPUT_PP;
  GPIO_InitStruct.Pull = GPIO_NOPULL;
  GPIO_InitStruct.Speed = GPIO_SPEED_FREQ_MEDIUM;
  HAL_GPIO_Init(GPIOB, &GPIO_InitStruct);

}

/* USER CODE BEGIN 4 */
// Interrupciones
void HAL_TIM_PeriodElapsedCallback(TIM_HandleTypeDef *htim){
	if(htim == &htim6){
		if(flag_jugando){
			contador++;
			if (contador >= 20){
				// ya paso 1 seg.
				contador_seg++;
				contador = 0;
			}
		}

		if(boost_visible){
			boost_timer++;

			if(boost_timer >= 100){ // 100 * 50ms = 5s
				boost_visible = 0;
				boost_timer = 0;
			}
		}

		if(boost_car1){
		    boost_time_car1++;
		    if(boost_time_car1 >= 100){
		        boost_car1 = 0;
		        if(VELOCIDAD == 0){
		        	STEP_SIZE_CAR1 = 8;
		        }else if (VELOCIDAD == 2){
		        	STEP_SIZE_CAR1 = 4;
		        }

		    }
		}

		if(boost_car2){
		    boost_time_car2++;
		    if(boost_time_car2 >= 100){
		        boost_car2 = 0;
		        if(VELOCIDAD == 0){
					STEP_SIZE_CAR1 = 8;
				}else if (VELOCIDAD == 2){
					STEP_SIZE_CAR1 = 4;
				}
		    }
		}

	}
}
void HAL_UART_RxCpltCallback(UART_HandleTypeDef *huart)
{
	if (huart == &huart3)
	{
	    cmd1 = rx_control1[0];

	    new_x_car1 = dir_x_car1;
	    new_y_car1 = dir_y_car1;

	    switch(cmd1){
	        case 'r': new_x_car1 += STEP_SIZE_CAR1; break;
	        case 'l': new_x_car1 -= STEP_SIZE_CAR1; break;
	        case 'u': new_y_car1 -= STEP_SIZE_CAR1; break;
	        case 'd': new_y_car1 += STEP_SIZE_CAR1; break;
	    }

	    move_ready1 = 1;

	    HAL_UART_Receive_DMA(&huart3, rx_control1, 1);
	}
    if (huart == &huart6)
        {
			if (huart == &huart6)
			{
				cmd2 = rx_control2[0];

				new_x_car2 = dir_x_car2;
				new_y_car2 = dir_y_car2;

				switch(cmd2){
					case 'r': new_x_car2 += STEP_SIZE_CAR2; break;
					case 'l': new_x_car2 -= STEP_SIZE_CAR2; break;
					case 'u': new_y_car2 -= STEP_SIZE_CAR2; break;
					case 'd': new_y_car2 += STEP_SIZE_CAR2; break;
				}

				move_ready2 = 1;

				HAL_UART_Receive_DMA(&huart6, rx_control2, 1);
			}

        }
}

/* USER CODE END 4 */

void Error_Handler(void)
{
	__disable_irq();
	while (1) {
	}
}
